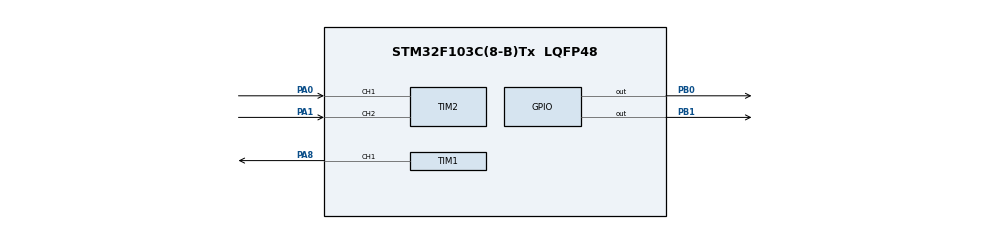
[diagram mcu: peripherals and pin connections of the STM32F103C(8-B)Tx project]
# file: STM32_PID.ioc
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Mcu.Family=STM32F1
Mcu.Name=STM32F103C(8-B)Tx
Mcu.Package=LQFP48
NVIC.PriorityGroup=NVIC_PRIORITYGROUP_4
NVIC.TIM3_IRQn=true\:0\:0\:false\:false\:true\:true\:true\:true
PA0-WKUP.GPIO_PuPd=GPIO_PULLUP
PA0-WKUP.Signal=S_TIM2_CH1_ETR
PA1.GPIO_PuPd=GPIO_PULLUP
PA1.Signal=S_TIM2_CH2
PA13.Mode=Serial_Wire
PA13.Signal=SYS_JTMS-SWDIO
PA14.Mode=Serial_Wire
PA14.Signal=SYS_JTCK-SWCLK
PA8.Signal=S_TIM1_CH1
PB0.Signal=GPIO_Output
PB1.Signal=GPIO_Output
PD0-OSC_IN.Mode=HSE-External-Oscillator
PD0-OSC_IN.Signal=RCC_OSC_IN
PD1-OSC_OUT.Mode=HSE-External-Oscillator
PD1-OSC_OUT.Signal=RCC_OSC_OUT
ProjectManager.HeapSize=0x200
ProjectManager.StackSize=0x400
ProjectManager.TargetToolchain=MDK-ARM V5.32
RCC.APB1Freq_Value=8000000
RCC.APB2Freq_Value=8000000
RCC.SYSCLKSource=RCC_SYSCLKSOURCE_HSE
SH.S_TIM1_CH1.0=TIM1_CH1,PWM Generation1 CH1
SH.S_TIM2_CH1_ETR.0=TIM2_CH1,Encoder_Interface
SH.S_TIM2_CH2.0=TIM2_CH2,Encoder_Interface
TIM1.Channel-PWM\ Generation1\ CH1=TIM_CHANNEL_1
TIM1.Period=799
TIM1.Prescaler=99
TIM1.Pulse-PWM\ Generation1\ CH1=199
TIM2.EncoderMode=TIM_ENCODERMODE_TI12
TIM3.Period=799
TIM3.Prescaler=99
VP_TIM3_VS_ClockSourceINT.Mode=Internal
board=custom

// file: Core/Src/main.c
/* USER CODE BEGIN Header */
/**
  ******************************************************************************
  * @file           : main.c
  * @brief          : Main program body
  ******************************************************************************
  * @attention
  *
  * Copyright (c) 2024 STMicroelectronics.
  * All rights reserved.
  *
  * This software is licensed under terms that can be found in the LICENSE file
  * in the root directory of this software component.
  * If no LICENSE file comes with this software, it is provided AS-IS.
  *
  ******************************************************************************
  */
/* USER CODE END Header */
#include "main.h"
#include <math.h>
#include <stdlib.h>

/* USER CODE BEGIN PTD */
volatile short read_encoder = 0;
int16_t desire = 450;
int16_t error = 225;
float Kp = 1;
int16_t set_pwm = 0;
int16_t period = 0;
int16_t flag = 0;
int16_t synchronize_error = 0;
/* USER CODE END PTD */

TIM_HandleTypeDef htim1;
TIM_HandleTypeDef htim2;
TIM_HandleTypeDef htim3;

void SystemClock_Config(void);
static void MX_GPIO_Init(void);
static void MX_TIM1_Init(void);
static void MX_TIM2_Init(void);
static void MX_TIM3_Init(void);

int main(void)
{

  /* MCU Configuration--------------------------------------------------------*/

  /* Reset of all peripherals, Initializes the Flash interface and the Systick. */
  HAL_Init();

  /* Configure the system clock */
  SystemClock_Config();

  /* Initialize all configured peripherals */
  MX_GPIO_Init();
  MX_TIM1_Init();
  MX_TIM2_Init();
  MX_TIM3_Init();
  /* USER CODE BEGIN 2 */
	HAL_TIM_Encoder_Start(&htim2, TIM_CHANNEL_1 | TIM_CHANNEL_2);
	HAL_TIM_PWM_Start(&htim1, TIM_CHANNEL_1);
	HAL_TIM_Base_Start_IT(&htim3);
  /* USER CODE END 2 */

  /* Infinite loop */
  while (1)
  {

    /* USER CODE BEGIN 3 */
		synchronize_error = __HAL_TIM_GetCounter(&htim2);
		if(abs(desire - synchronize_error) < 20){
			HAL_Delay(500);
			desire += 225;
			flag = 0;
		}
  }
  /* USER CODE END 3 */
}

void SystemClock_Config(void)
{
  RCC_OscInitTypeDef RCC_OscInitStruct = {0};
  RCC_ClkInitTypeDef RCC_ClkInitStruct = {0};

  /** Initializes the RCC Oscillators according to the specified parameters
  * in the RCC_OscInitTypeDef structure.
  */
  RCC_OscInitStruct.OscillatorType = RCC_OSCILLATORTYPE_HSE;
  RCC_OscInitStruct.HSEState = RCC_HSE_ON;
  RCC_OscInitStruct.PLL.PLLState = RCC_PLL_NONE;
  if (HAL_RCC_OscConfig(&RCC_OscInitStruct) != HAL_OK)
  {
    Error_Handler();
  }

  /** Initializes the CPU, AHB and APB buses clocks
  */
  RCC_ClkInitStruct.ClockType = RCC_CLOCKTYPE_HCLK|RCC_CLOCKTYPE_SYSCLK
                              |RCC_CLOCKTYPE_PCLK1|RCC_CLOCKTYPE_PCLK2;
  RCC_ClkInitStruct.SYSCLKSource = RCC_SYSCLKSOURCE_HSE;
  RCC_ClkInitStruct.AHBCLKDivider = RCC_SYSCLK_DIV1;
  RCC_ClkInitStruct.APB1CLKDivider = RCC_HCLK_DIV1;
  RCC_ClkInitStruct.APB2CLKDivider = RCC_HCLK_DIV1;

  if (HAL_RCC_ClockConfig(&RCC_ClkInitStruct, FLASH_LATENCY_0) != HAL_OK)
  {
    Error_Handler();
  }
}

static void MX_TIM1_Init(void)
{

  TIM_MasterConfigTypeDef sMasterConfig = {0};
  TIM_OC_InitTypeDef sConfigOC = {0};
  TIM_BreakDeadTimeConfigTypeDef sBreakDeadTimeConfig = {0};

  htim1.Instance = TIM1;
  htim1.Init.Prescaler = 99;
  htim1.Init.CounterMode = TIM_COUNTERMODE_UP;
  htim1.Init.Period = 799;
  htim1.Init.ClockDivision = TIM_CLOCKDIVISION_DIV1;
  htim1.Init.RepetitionCounter = 0;
  htim1.Init.AutoReloadPreload = TIM_AUTORELOAD_PRELOAD_DISABLE;
  if (HAL_TIM_PWM_Init(&htim1) != HAL_OK)
  {
    Error_Handler();
  }
  sMasterConfig.MasterOutputTrigger = TIM_TRGO_RESET;
  sMasterConfig.MasterSlaveMode = TIM_MASTERSLAVEMODE_DISABLE;
  if (HAL_TIMEx_MasterConfigSynchronization(&htim1, &sMasterConfig) != HAL_OK)
  {
    Error_Handler();
  }
  sConfigOC.OCMode = TIM_OCMODE_PWM1;
  sConfigOC.Pulse = 199;
  sConfigOC.OCPolarity = TIM_OCPOLARITY_HIGH;
  sConfigOC.OCNPolarity = TIM_OCNPOLARITY_HIGH;
  sConfigOC.OCFastMode = TIM_OCFAST_DISABLE;
  sConfigOC.OCIdleState = TIM_OCIDLESTATE_RESET;
  sConfigOC.OCNIdleState = TIM_OCNIDLESTATE_RESET;
  if (HAL_TIM_PWM_ConfigChannel(&htim1, &sConfigOC, TIM_CHANNEL_1) != HAL_OK)
  {
    Error_Handler();
  }
  sBreakDeadTimeConfig.OffStateRunMode = TIM_OSSR_DISABLE;
  sBreakDeadTimeConfig.OffStateIDLEMode = TIM_OSSI_DISABLE;
  sBreakDeadTimeConfig.LockLevel = TIM_LOCKLEVEL_OFF;
  sBreakDeadTimeConfig.DeadTime = 0;
  sBreakDeadTimeConfig.BreakState = TIM_BREAK_DISABLE;
  sBreakDeadTimeConfig.BreakPolarity = TIM_BREAKPOLARITY_HIGH;
  sBreakDeadTimeConfig.AutomaticOutput = TIM_AUTOMATICOUTPUT_DISABLE;
  if (HAL_TIMEx_ConfigBreakDeadTime(&htim1, &sBreakDeadTimeConfig) != HAL_OK)
  {
    Error_Handler();
  }
  HAL_TIM_MspPostInit(&htim1);

}

static void MX_TIM2_Init(void)
{

  TIM_Encoder_InitTypeDef sConfig = {0};
  TIM_MasterConfigTypeDef sMasterConfig = {0};

  htim2.Instance = TIM2;
  htim2.Init.Prescaler = 0;
  htim2.Init.CounterMode = TIM_COUNTERMODE_UP;
  htim2.Init.Period = 65535;
  htim2.Init.ClockDivision = TIM_CLOCKDIVISION_DIV1;
  htim2.Init.AutoReloadPreload = TIM_AUTORELOAD_PRELOAD_DISABLE;
  sConfig.EncoderMode = TIM_ENCODERMODE_TI12;
  sConfig.IC1Polarity = TIM_ICPOLARITY_RISING;
  sConfig.IC1Selection = TIM_ICSELECTION_DIRECTTI;
  sConfig.IC1Prescaler = TIM_ICPSC_DIV1;
  sConfig.IC1Filter = 0;
  sConfig.IC2Polarity = TIM_ICPOLARITY_RISING;
  sConfig.IC2Selection = TIM_ICSELECTION_DIRECTTI;
  sConfig.IC2Prescaler = TIM_ICPSC_DIV1;
  sConfig.IC2Filter = 0;
  if (HAL_TIM_Encoder_Init(&htim2, &sConfig) != HAL_OK)
  {
    Error_Handler();
  }
  sMasterConfig.MasterOutputTrigger = TIM_TRGO_RESET;
  sMasterConfig.MasterSlaveMode = TIM_MASTERSLAVEMODE_DISABLE;
  if (HAL_TIMEx_MasterConfigSynchronization(&htim2, &sMasterConfig) != HAL_OK)
  {
    Error_Handler();
  }

}

static void MX_TIM3_Init(void)
{

  TIM_ClockConfigTypeDef sClockSourceConfig = {0};
  TIM_MasterConfigTypeDef sMasterConfig = {0};

  htim3.Instance = TIM3;
  htim3.Init.Prescaler = 99;
  htim3.Init.CounterMode = TIM_COUNTERMODE_UP;
  htim3.Init.Period = 799;
  htim3.Init.ClockDivision = TIM_CLOCKDIVISION_DIV1;
  htim3.Init.AutoReloadPreload = TIM_AUTORELOAD_PRELOAD_DISABLE;
  if (HAL_TIM_Base_Init(&htim3) != HAL_OK)
  {
    Error_Handler();
  }
  sClockSourceConfig.ClockSource = TIM_CLOCKSOURCE_INTERNAL;
  if (HAL_TIM_ConfigClockSource(&htim3, &sClockSourceConfig) != HAL_OK)
  {
    Error_Handler();
  }
  sMasterConfig.MasterOutputTrigger = TIM_TRGO_RESET;
  sMasterConfig.MasterSlaveMode = TIM_MASTERSLAVEMODE_DISABLE;
  if (HAL_TIMEx_MasterConfigSynchronization(&htim3, &sMasterConfig) != HAL_OK)
  {
    Error_Handler();
  }

}

static void MX_GPIO_Init(void)
{
  GPIO_InitTypeDef GPIO_InitStruct = {0};

  /* GPIO Ports Clock Enable */
  __HAL_RCC_GPIOD_CLK_ENABLE();
  __HAL_RCC_GPIOA_CLK_ENABLE();
  __HAL_RCC_GPIOB_CLK_ENABLE();

  /*Configure GPIO pin Output Level */
  HAL_GPIO_WritePin(GPIOB, GPIO_PIN_0|GPIO_PIN_1, GPIO_PIN_RESET);

  /*Configure GPIO pins : PB0 PB1 */
  GPIO_InitStruct.Pin = GPIO_PIN_0|GPIO_PIN_1;
  GPIO_InitStruct.Mode = GPIO_MODE_OUTPUT_PP;
  GPIO_InitStruct.Pull = GPIO_NOPULL;
  GPIO_InitStruct.Speed = GPIO_SPEED_FREQ_LOW;
  HAL_GPIO_Init(GPIOB, &GPIO_InitStruct);

}

/* USER CODE BEGIN 4 */
void HAL_TIM_PeriodElapsedCallback(TIM_HandleTypeDef *htim){
		if(flag == 0){
		read_encoder = __HAL_TIM_GetCounter(&htim2);
		error = desire - read_encoder;

		set_pwm = error*Kp;

		if (set_pwm > 99) set_pwm = 99;
    if (set_pwm < -99) set_pwm = -99;

		if (set_pwm >= 0){
        HAL_GPIO_WritePin(GPIOB, GPIO_PIN_0,1);
				HAL_GPIO_WritePin(GPIOB, GPIO_PIN_1,0);
    }
    else
    {
        HAL_GPIO_WritePin(GPIOB, GPIO_PIN_0,0);
				HAL_GPIO_WritePin(GPIOB, GPIO_PIN_1,1);
    }

		__HAL_TIM_SET_COMPARE(&htim1, TIM_CHANNEL_1, abs(set_pwm));
		}
		if(abs(error) < 20){
			flag = 1;
		}
}
/* USER CODE END 4 */

void Error_Handler(void)
{
  __disable_irq();
  while (1)
  {
  }
}
